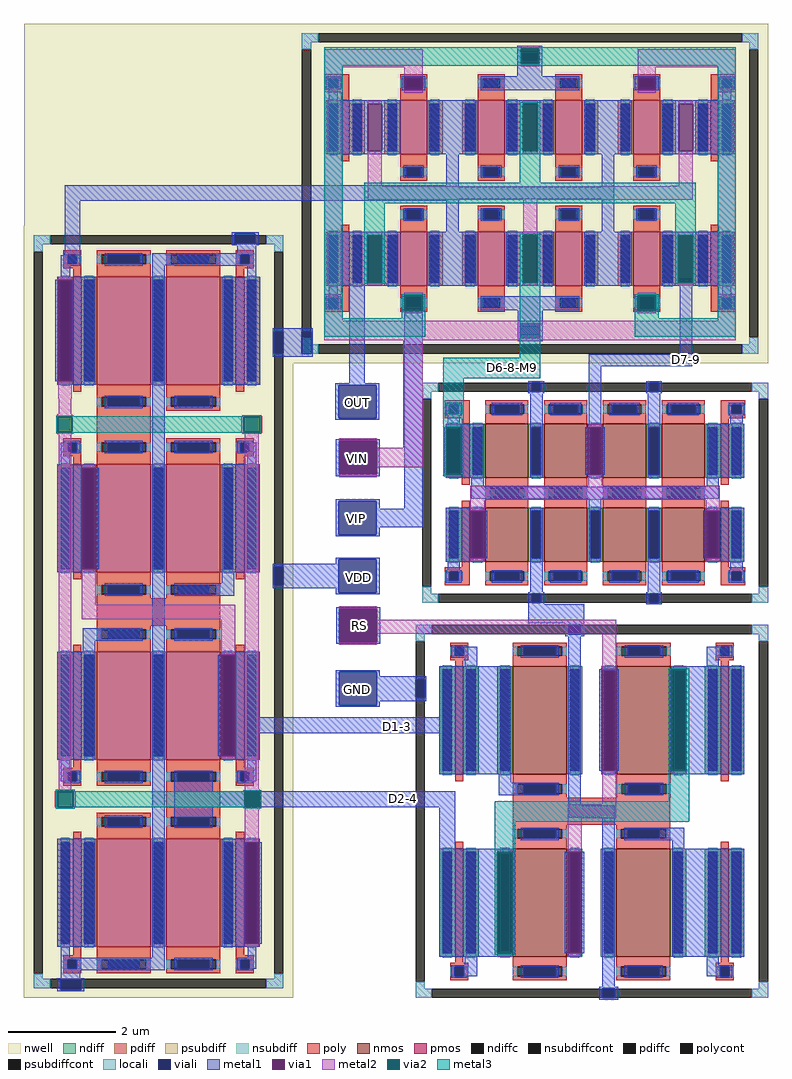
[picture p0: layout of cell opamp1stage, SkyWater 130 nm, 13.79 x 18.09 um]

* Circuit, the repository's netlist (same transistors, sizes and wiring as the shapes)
** sch_path: /home/jay_mosfet/opamp1stage/magic/opamp1stage.sch
.subckt opamp1stage OUT VDD VIN VIP RS GND
*.PININFO OUT:O VDD:B VIN:I VIP:I RS:B GND:B
x1 net4 OUT GND biasdif
x2 net1 VIN VIP VDD OUT net4 difpair
x3 net3 net2 RS GND nmoscsi
x4 VDD net3 net1 net2 pmoscs
.ends

* expanding   symbol:  biasdif.sym # of pins=3
** sym_path: /home/jay_mosfet/opamp1stage/magic/biasdif.sym
** sch_path: /home/jay_mosfet/opamp1stage/magic/biasdif.sch
.subckt biasdif D8 D9 GND
*.PININFO GND:B D8:B D9:B
XM8 D8 D8 GND GND sky130_fd_pr__nfet_01v8 L=0.8 W=1 nf=1 m=4
XM9 D9 D8 GND GND sky130_fd_pr__nfet_01v8 L=0.8 W=1 nf=1 m=4
XM1 D8 D8 D8 GND sky130_fd_pr__nfet_01v8 L=0.15 W=1 nf=1 m=2
XM2 D9 D9 D9 GND sky130_fd_pr__nfet_01v8 L=0.15 W=1 nf=1 m=2
.ends


* expanding   symbol:  difpair.sym # of pins=6
** sym_path: /home/jay_mosfet/opamp1stage/magic/difpair.sym
** sch_path: /home/jay_mosfet/opamp1stage/magic/difpair.sch
.subckt difpair D5 VIN VIP VDD D7 D6
*.PININFO VIN:I VIP:I D6:B D7:B D5:B VDD:B
XM6 D6 VIN D5 VDD sky130_fd_pr__pfet_01v8 L=0.5 W=1 nf=1 m=4
XM7 D7 VIP D5 VDD sky130_fd_pr__pfet_01v8 L=0.5 W=1 nf=1 m=4
XM1 D6 D6 D6 VDD sky130_fd_pr__pfet_01v8 L=0.15 W=1 nf=1 m=2
XM2 D7 D7 D7 VDD sky130_fd_pr__pfet_01v8 L=0.15 W=1 nf=1 m=2
.ends


* expanding   symbol:  nmoscsi.sym # of pins=4
** sym_path: /home/jay_mosfet/opamp1stage/magic/nmoscsi.sym
** sch_path: /home/jay_mosfet/opamp1stage/magic/nmoscsi.sch
.subckt nmoscsi D4 D3 RS GND
*.PININFO RS:B GND:B D3:B D4:B
XM3 D3 D3 GND GND sky130_fd_pr__nfet_01v8 L=1 W=2 nf=1 m=2
XM4 D4 D3 RS GND sky130_fd_pr__nfet_01v8 L=1 W=2 nf=1 m=2
XM1 D3 D3 D3 GND sky130_fd_pr__nfet_01v8 L=0.15 W=2 nf=1 m=2
XM2 D4 D4 D4 GND sky130_fd_pr__nfet_01v8 L=0.15 W=2 nf=1 m=2
.ends


* expanding   symbol:  pmoscs.sym # of pins=4
** sym_path: /home/jay_mosfet/opamp1stage/magic/pmoscs.sym
** sch_path: /home/jay_mosfet/opamp1stage/magic/pmoscs.sch
.subckt pmoscs VDD D2 D5 D1
*.PININFO VDD:B D1:B D2:B D5:B
XM1 D1 D2 VDD VDD sky130_fd_pr__pfet_01v8 L=1 W=2 nf=1 m=2
XM2 D2 D2 VDD VDD sky130_fd_pr__pfet_01v8 L=1 W=2 nf=1 m=2
XM5 D5 D2 VDD VDD sky130_fd_pr__pfet_01v8 L=1 W=2 nf=1 m=2
XM3 VDD VDD VDD VDD sky130_fd_pr__pfet_01v8 L=1 W=2 nf=1 m=2
XM4 VDD VDD VDD VDD sky130_fd_pr__pfet_01v8 L=0.15 W=2 nf=1 m=2
XM6 D5 D5 D5 VDD sky130_fd_pr__pfet_01v8 L=0.15 W=2 nf=1 m=2
XM7 D1 D1 D1 VDD sky130_fd_pr__pfet_01v8 L=0.15 W=2 nf=1 m=2
XM8 D2 D2 D2 VDD sky130_fd_pr__pfet_01v8 L=0.15 W=2 nf=1 m=2
.ends

.end

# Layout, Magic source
magic
tech sky130A
magscale 1 2
<< nwell >>
rect -4586 1118 -3594 1866
<< viali >>
rect -3660 644 -3626 726
rect -3558 644 -3524 726
rect -3422 404 -3283 527
rect -3420 196 -3281 320
rect -3421 -27 -3282 97
rect -3660 -214 -3626 -147
rect -3421 -242 -3282 -118
rect -3419 -426 -3280 -302
rect -3420 -660 -3281 -536
rect -3136 -632 -3102 -564
<< metal1 >>
rect -4437 1210 -2977 1267
rect -4437 970 -4380 1210
rect -3666 726 -3518 738
rect -3666 644 -3660 726
rect -3626 644 -3558 726
rect -3524 644 -3518 726
rect -3666 632 -3518 644
rect -3382 533 -3324 897
rect -3434 527 -3271 533
rect -3434 404 -3422 527
rect -3283 404 -3271 527
rect -3434 398 -3271 404
rect -3432 320 -3269 326
rect -3432 196 -3420 320
rect -3281 196 -3269 320
rect -3432 190 -3269 196
rect -3433 97 -3270 103
rect -3433 -27 -3421 97
rect -3282 69 -3270 97
rect -3178 69 -3110 814
rect -2158 642 -2112 921
rect -2494 596 -2112 642
rect -2494 383 -2448 596
rect -3031 195 -3021 371
rect -2969 195 -2959 371
rect -3282 1 -3110 69
rect -3282 -27 -3270 1
rect -3433 -33 -3270 -27
rect -3433 -118 -3270 -112
rect -3433 -135 -3421 -118
rect -3666 -147 -3421 -135
rect -3666 -214 -3660 -147
rect -3626 -214 -3421 -147
rect -3666 -226 -3421 -214
rect -3433 -242 -3421 -226
rect -3282 -242 -3270 -118
rect -3433 -248 -3270 -242
rect -3431 -302 -3268 -296
rect -3431 -426 -3419 -302
rect -3280 -426 -3268 -302
rect -2718 -356 -2512 -286
rect -3431 -432 -3268 -426
rect -3432 -536 -3269 -529
rect -3432 -660 -3420 -536
rect -3281 -552 -3269 -536
rect -3281 -564 -3096 -552
rect -3281 -632 -3136 -564
rect -3102 -632 -3096 -564
rect -3281 -644 -3096 -632
rect -3281 -660 -3269 -644
rect -3432 -666 -3269 -660
rect -3714 -763 -3048 -704
rect -4031 -978 -3889 -948
rect -4031 -979 -3860 -978
rect -4031 -1038 -2990 -979
rect -4031 -1068 -3889 -1038
rect -3049 -1191 -2990 -1038
<< via1 >>
rect -3420 196 -3281 320
rect -3021 195 -2969 371
rect -3419 -426 -3280 -302
<< metal2 >>
rect -2740 1083 -2684 1093
rect -2740 897 -2684 907
rect -3420 320 -3281 330
rect -3182 295 -3110 695
rect -3281 223 -3110 295
rect -3023 371 -2967 381
rect -3420 186 -3281 196
rect -3023 185 -2967 195
rect -3419 -302 -3280 -292
rect -3280 -394 -2393 -342
rect -3419 -436 -3280 -426
rect -2445 -517 -2393 -394
rect -2444 -530 -2393 -517
<< via2 >>
rect -2740 907 -2684 1083
rect -3023 195 -3021 371
rect -3021 195 -2969 371
rect -2969 195 -2967 371
<< metal3 >>
rect -2750 1083 -2674 1088
rect -2750 907 -2740 1083
rect -2684 907 -2674 1083
rect -2750 629 -2674 907
rect -3033 553 -2674 629
rect -3033 371 -2957 553
rect -3033 195 -3023 371
rect -2967 195 -2957 371
rect -3033 190 -2957 195
use biasdif  biasdif_0
transform 1 0 -3263 0 1 -842
box 151 556 1433 1384
use difpair  difpair_0
transform 1 0 -5088 0 1 99
box 1494 509 3258 1768
use nmoscsi  nmoscsi_0
transform 1 0 -2834 0 1 -1003
box -302 -747 1004 647
use pmoscs  pmoscs_0
transform 1 0 -4962 0 1 -1675
box 374 -69 1372 2793
<< labels >>
flabel metal1 -3205 -740 -3205 -740 0 FreeSans 640 0 0 0 D1-3
flabel metal1 -3181 -1005 -3181 -1005 0 FreeSans 640 0 0 0 D2-4
flabel space -2777 593 -2777 593 0 FreeSans 640 0 0 0 D6-8-M9
flabel metal1 -2133 620 -2133 620 0 FreeSans 640 0 0 0 D7-9
flabel viali -3352 463 -3352 463 0 FreeSans 640 0 0 0 OUT
port 1 nsew
flabel via1 -3351 255 -3351 255 0 FreeSans 640 0 0 0 VIN
port 2 nsew
flabel viali -3355 31 -3355 31 0 FreeSans 640 0 0 0 VIP
port 3 nsew
flabel viali -3348 -185 -3348 -185 0 FreeSans 640 0 0 0 VDD
port 4 nsew
flabel viali -3345 -363 -3345 -363 0 FreeSans 640 0 0 0 RS
port 5 nsew
flabel viali -3352 -600 -3352 -600 0 FreeSans 640 0 0 0 GND
port 7 nsew
<< end >>

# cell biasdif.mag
magic
tech sky130A
magscale 1 2
<< psubdiff >>
rect 151 1344 211 1378
rect 1373 1344 1433 1378
rect 151 1318 185 1344
rect 1399 1318 1433 1344
rect 151 596 185 622
rect 1399 596 1433 622
rect 151 562 211 596
rect 1373 562 1433 596
<< psubdiffcont >>
rect 211 1344 1373 1378
rect 151 622 185 1318
rect 1399 622 1433 1318
rect 211 562 1373 596
<< poly >>
rect 235 1297 327 1313
rect 235 1263 251 1297
rect 285 1263 327 1297
rect 235 1247 327 1263
rect 1257 1297 1349 1313
rect 1257 1263 1299 1297
rect 1333 1263 1349 1297
rect 1257 1247 1349 1263
rect 1257 1225 1287 1247
rect 235 677 327 693
rect 235 643 251 677
rect 285 643 327 677
rect 235 627 327 643
rect 1257 677 1349 693
rect 1257 643 1299 677
rect 1333 643 1349 677
rect 1257 627 1349 643
<< polycont >>
rect 251 1263 285 1297
rect 1299 1263 1333 1297
rect 251 643 285 677
rect 1299 643 1333 677
<< locali >>
rect 151 1344 211 1378
rect 1373 1344 1433 1378
rect 151 1318 185 1344
rect 1399 1318 1433 1344
rect 235 1263 251 1297
rect 285 1263 301 1297
rect 1283 1263 1299 1297
rect 1333 1263 1349 1297
rect 235 643 251 677
rect 285 643 301 677
rect 1283 643 1299 677
rect 1333 643 1349 677
rect 151 596 185 622
rect 1399 596 1433 622
rect 151 562 211 596
rect 1373 562 1433 596
<< viali >>
rect 557 1344 591 1378
rect 993 1344 1027 1378
rect 251 1263 285 1297
rect 1299 1263 1333 1297
rect 251 643 285 677
rect 1299 643 1333 677
rect 557 562 591 596
rect 993 562 1027 596
<< metal1 >>
rect 545 1378 603 1384
rect 545 1344 557 1378
rect 591 1344 603 1378
rect 545 1338 603 1344
rect 981 1378 1039 1384
rect 981 1344 993 1378
rect 1027 1344 1039 1378
rect 981 1338 1039 1344
rect 239 1297 297 1303
rect 239 1263 251 1297
rect 285 1263 297 1297
rect 239 1257 297 1263
rect 245 1225 291 1257
rect 551 1225 597 1338
rect 987 1225 1033 1338
rect 1287 1297 1345 1303
rect 1287 1263 1299 1297
rect 1333 1263 1345 1297
rect 1287 1257 1345 1263
rect 1293 1225 1339 1257
rect 239 1025 379 1225
rect 756 1037 766 1213
rect 818 1037 828 1213
rect 333 993 379 1025
rect 1205 1025 1345 1225
rect 1205 993 1251 1025
rect 333 947 1251 993
rect 769 915 815 947
rect 239 903 379 915
rect 1205 903 1345 915
rect 239 727 330 903
rect 382 727 392 903
rect 1192 727 1202 903
rect 1254 727 1345 903
rect 239 715 379 727
rect 1205 715 1345 727
rect 245 683 291 715
rect 239 677 297 683
rect 239 643 251 677
rect 285 643 297 677
rect 239 637 297 643
rect 551 602 597 715
rect 987 602 1033 715
rect 1293 683 1339 715
rect 1287 677 1345 683
rect 1287 643 1299 677
rect 1333 643 1345 677
rect 1287 637 1345 643
rect 545 596 603 602
rect 545 562 557 596
rect 591 562 603 596
rect 545 556 603 562
rect 981 596 1039 602
rect 981 562 993 596
rect 1027 562 1039 596
rect 981 556 1039 562
<< via1 >>
rect 766 1037 818 1213
rect 330 727 382 903
rect 1202 727 1254 903
<< metal2 >>
rect 766 1213 818 1223
rect 766 996 818 1037
rect 330 944 1254 996
rect 330 903 382 944
rect 330 717 382 727
rect 1202 903 1254 944
rect 1202 717 1254 727
use sky130_fd_pr__nfet_01v8_6H9P4D  sky130_fd_pr__nfet_01v8_6H9P4D_0
transform 1 0 1272 0 1 815
box -73 -126 73 126
use sky130_fd_pr__nfet_01v8_6H9P4D  sky130_fd_pr__nfet_01v8_6H9P4D_1
transform 1 0 312 0 1 1125
box -73 -126 73 126
use sky130_fd_pr__nfet_01v8_6H9P4D  sky130_fd_pr__nfet_01v8_6H9P4D_2
transform 1 0 312 0 1 815
box -73 -126 73 126
use sky130_fd_pr__nfet_01v8_6H9P4D  sky130_fd_pr__nfet_01v8_6H9P4D_3
transform 1 0 1272 0 1 1125
box -73 -126 73 126
use sky130_fd_pr__nfet_01v8_YYNGNX  sky130_fd_pr__nfet_01v8_YYNGNX_0
transform 1 0 792 0 1 970
box -465 -343 465 343
<< labels >>
flabel space 460 1134 460 1134 0 FreeSans 160 0 0 0 M8
flabel space 1116 1132 1116 1132 0 FreeSans 160 0 0 0 M8
flabel space 450 788 450 788 0 FreeSans 160 0 0 0 M9
flabel space 1116 802 1116 802 0 FreeSans 160 0 0 0 M9
flabel space 692 1118 692 1118 0 FreeSans 160 0 0 0 M9
flabel space 904 1120 904 1120 0 FreeSans 160 0 0 0 M9
flabel space 680 810 680 810 0 FreeSans 160 0 0 0 M8
flabel space 900 810 900 810 0 FreeSans 160 0 0 0 M8
flabel via1 793 1125 793 1125 0 FreeSans 160 0 0 0 d9
flabel space 794 811 794 811 0 FreeSans 160 0 0 0 d8
flabel via1 359 811 359 811 0 FreeSans 160 0 0 0 d9
flabel space 575 816 575 816 0 FreeSans 160 0 0 0 S
flabel space 575 1127 575 1127 0 FreeSans 160 0 0 0 S
flabel space 1008 1126 1008 1126 0 FreeSans 160 0 0 0 S
flabel space 1010 813 1010 813 0 FreeSans 160 0 0 0 S
flabel metal1 573 1309 573 1309 0 FreeSans 160 0 0 0 GND
port 1 nsew
flabel metal2 1226 928 1226 928 0 FreeSans 160 0 0 0 D9
port 2 nsew
flabel metal1 1228 1011 1228 1011 0 FreeSans 160 0 0 0 D8
port 3 nsew
<< end >>

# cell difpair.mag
magic
tech sky130A
magscale 1 2
<< nwell >>
rect 1494 1521 3258 1768
rect 1494 1498 2203 1521
rect 2253 1515 3258 1521
rect 2253 1498 2499 1515
rect 1494 1496 2499 1498
rect 2533 1496 3258 1515
rect 1494 1400 3258 1496
rect 1494 1364 1908 1400
rect 1962 1364 3258 1400
rect 1494 1274 3258 1364
rect 1494 1249 2207 1274
rect 2252 1249 3258 1274
rect 1494 1033 3258 1249
rect 1494 998 1912 1033
rect 1971 1030 3258 1033
rect 1971 1008 2206 1030
rect 2252 1008 2494 1030
rect 1971 1003 2494 1008
rect 2547 1003 3258 1030
rect 1971 998 3258 1003
rect 1494 938 3258 998
rect 1494 906 1912 938
rect 1954 926 3258 938
rect 1954 914 2774 926
rect 2806 914 3258 926
rect 1954 906 2766 914
rect 1494 854 2766 906
rect 2830 854 3258 914
rect 1494 509 3258 854
<< nsubdiff >>
rect 1530 1698 1590 1732
rect 3162 1698 3222 1732
rect 1530 1672 1564 1698
rect 3188 1672 3222 1698
rect 1530 579 1564 605
rect 3188 579 3222 605
rect 1530 545 1590 579
rect 3162 545 3222 579
<< nsubdiffcont >>
rect 1590 1698 3162 1732
rect 1530 605 1564 1672
rect 3188 605 3222 1672
rect 1590 545 3162 579
<< poly >>
rect 1614 1564 1706 1580
rect 1614 1530 1630 1564
rect 1664 1530 1706 1564
rect 1614 1514 1706 1530
rect 1676 1509 1706 1514
rect 3046 1564 3138 1580
rect 3046 1530 3088 1564
rect 3122 1530 3138 1564
rect 3046 1514 3138 1530
rect 3046 1509 3076 1514
rect 1676 765 1706 770
rect 1614 749 1706 765
rect 1614 715 1630 749
rect 1664 715 1706 749
rect 1614 699 1706 715
rect 3046 765 3076 770
rect 3046 749 3138 765
rect 3046 715 3088 749
rect 3122 715 3138 749
rect 3046 699 3138 715
<< polycont >>
rect 1630 1530 1664 1564
rect 3088 1530 3122 1564
rect 1630 715 1664 749
rect 3088 715 3122 749
<< locali >>
rect 1530 1698 1590 1732
rect 3162 1698 3222 1732
rect 1530 1672 1564 1698
rect 3188 1672 3222 1698
rect 1614 1530 1630 1564
rect 1664 1530 1680 1564
rect 3072 1530 3088 1564
rect 3122 1530 3138 1564
rect 1614 715 1630 749
rect 1664 715 1680 749
rect 3072 715 3088 749
rect 3122 715 3138 749
rect 1530 579 1564 605
rect 3188 579 3222 605
rect 1530 545 1590 579
rect 3162 545 3222 579
<< viali >>
rect 2341 1630 2409 1664
rect 1630 1530 1664 1564
rect 3088 1530 3122 1564
rect 1630 715 1664 749
rect 3088 715 3122 749
rect 2342 613 2410 647
<< metal1 >>
rect 2329 1673 2421 1685
rect 2329 1621 2341 1673
rect 2409 1621 2421 1673
rect 2329 1573 2421 1621
rect 1618 1564 1676 1570
rect 1618 1530 1630 1564
rect 1664 1530 1676 1564
rect 1618 1524 1676 1530
rect 1630 1483 1664 1524
rect 1900 1521 1910 1573
rect 1978 1521 1988 1573
rect 2194 1521 2558 1573
rect 2764 1521 2774 1573
rect 2842 1521 2852 1573
rect 3076 1564 3134 1570
rect 3076 1530 3088 1564
rect 3122 1530 3134 1564
rect 3076 1524 3134 1530
rect 3088 1483 3122 1524
rect 1630 1471 1894 1483
rect 1630 1295 1774 1471
rect 1826 1295 1894 1471
rect 1630 1283 1894 1295
rect 2000 1283 2176 1483
rect 2288 1471 2464 1483
rect 2288 1295 2350 1471
rect 2402 1295 2464 1471
rect 2288 1283 2464 1295
rect 2576 1283 2752 1483
rect 2864 1471 3128 1483
rect 2864 1295 2926 1471
rect 2978 1295 3128 1471
rect 2864 1283 3128 1295
rect 2065 1163 2111 1283
rect 2641 1163 2687 1283
rect 2065 1116 2687 1163
rect 2065 996 2111 1116
rect 2641 996 2687 1116
rect 1624 984 1888 996
rect 1624 808 1774 984
rect 1826 808 1888 984
rect 1624 796 1888 808
rect 2000 796 2176 996
rect 2288 984 2464 996
rect 2288 808 2350 984
rect 2402 808 2464 984
rect 2288 796 2464 808
rect 2576 796 2752 996
rect 2864 984 3128 996
rect 2864 808 2926 984
rect 2978 808 3128 984
rect 2864 796 3128 808
rect 1630 755 1664 796
rect 1618 749 1676 755
rect 1618 715 1630 749
rect 1664 715 1676 749
rect 1618 709 1676 715
rect 1900 706 1910 758
rect 1978 706 1988 758
rect 2194 706 2558 758
rect 2764 706 2774 758
rect 2842 706 2852 758
rect 3088 755 3122 796
rect 3076 749 3134 755
rect 3076 715 3088 749
rect 3122 715 3134 749
rect 3076 709 3134 715
rect 2330 656 2422 706
rect 2330 604 2342 656
rect 2410 604 2422 656
rect 2330 591 2422 604
<< via1 >>
rect 2341 1664 2409 1673
rect 2341 1630 2409 1664
rect 2341 1621 2409 1630
rect 1910 1521 1978 1573
rect 2774 1521 2842 1573
rect 1774 1295 1826 1471
rect 2350 1295 2402 1471
rect 2926 1295 2978 1471
rect 1774 808 1826 984
rect 2350 808 2402 984
rect 2926 808 2978 984
rect 1910 706 1978 758
rect 2774 706 2842 758
rect 2342 647 2410 656
rect 2342 613 2410 647
rect 2342 604 2410 613
<< metal2 >>
rect 2341 1675 2409 1685
rect 1613 1605 1978 1673
rect 2341 1609 2409 1619
rect 1613 666 1681 1605
rect 1910 1573 1978 1605
rect 1910 1511 1978 1521
rect 2774 1605 3139 1673
rect 2774 1573 2842 1605
rect 2774 1511 2842 1521
rect 1774 1471 1826 1481
rect 1774 1165 1826 1295
rect 2348 1471 2404 1481
rect 2348 1285 2404 1295
rect 2926 1471 2978 1481
rect 2926 1166 2978 1295
rect 2896 1165 2978 1166
rect 1774 1114 2978 1165
rect 1772 984 1828 994
rect 1772 798 1828 808
rect 2350 984 2402 1114
rect 2350 798 2402 808
rect 2924 984 2980 994
rect 2924 798 2980 808
rect 1910 760 1978 770
rect 1910 694 1978 704
rect 2774 760 2842 770
rect 2774 694 2842 704
rect 2342 666 2410 667
rect 3071 666 3139 1605
rect 1613 656 3139 666
rect 1613 604 2342 656
rect 2410 604 3139 656
rect 1613 594 3139 604
rect 2342 591 2410 594
<< via2 >>
rect 2341 1673 2409 1675
rect 2341 1621 2409 1673
rect 2341 1619 2409 1621
rect 2348 1295 2350 1471
rect 2350 1295 2402 1471
rect 2402 1295 2404 1471
rect 1772 808 1774 984
rect 1774 808 1826 984
rect 1826 808 1828 984
rect 2924 808 2926 984
rect 2926 808 2978 984
rect 2978 808 2980 984
rect 1910 758 1978 760
rect 1910 706 1978 758
rect 1910 704 1978 706
rect 2774 758 2842 760
rect 2774 706 2842 758
rect 2774 704 2842 706
<< metal3 >>
rect 1613 1675 3139 1680
rect 1613 1619 2341 1675
rect 2409 1619 3139 1675
rect 1613 1612 3139 1619
rect 1613 675 1681 1612
rect 2338 1471 2414 1476
rect 2338 1295 2348 1471
rect 2404 1295 2414 1471
rect 2338 1177 2414 1295
rect 1762 1102 2990 1177
rect 1762 984 1838 1102
rect 1762 808 1772 984
rect 1828 808 1838 984
rect 1762 803 1838 808
rect 2914 984 2990 1102
rect 2914 808 2924 984
rect 2980 808 2990 984
rect 2914 803 2990 808
rect 1900 760 1988 765
rect 1900 704 1910 760
rect 1978 704 1988 760
rect 1900 675 1988 704
rect 1613 608 1988 675
rect 2764 760 2852 765
rect 2764 704 2774 760
rect 2842 704 2852 760
rect 2764 675 2852 704
rect 3071 675 3139 1612
rect 2764 608 3139 675
use sky130_fd_pr__pfet_01v8_QKGXH2  sky130_fd_pr__pfet_01v8_QKGXH2_0
transform 1 0 3061 0 1 1383
box -109 -162 109 162
use sky130_fd_pr__pfet_01v8_QKGXH2  sky130_fd_pr__pfet_01v8_QKGXH2_3
transform 1 0 3061 0 1 896
box -109 -162 109 162
use sky130_fd_pr__pfet_01v8_QKGXH2  sky130_fd_pr__pfet_01v8_QKGXH2_4
transform 1 0 1691 0 1 1383
box -109 -162 109 162
use sky130_fd_pr__pfet_01v8_QKGXH2  sky130_fd_pr__pfet_01v8_QKGXH2_5
transform 1 0 1691 0 1 896
box -109 -162 109 162
use sky130_fd_pr__pfet_01v8_VGK97L  sky130_fd_pr__pfet_01v8_VGK97L_0
transform 1 0 2808 0 1 896
box -144 -200 144 200
use sky130_fd_pr__pfet_01v8_VGK97L  sky130_fd_pr__pfet_01v8_VGK97L_1
transform 1 0 1944 0 1 1383
box -144 -200 144 200
use sky130_fd_pr__pfet_01v8_VGK97L  sky130_fd_pr__pfet_01v8_VGK97L_2
transform 1 0 2232 0 1 1383
box -144 -200 144 200
use sky130_fd_pr__pfet_01v8_VGK97L  sky130_fd_pr__pfet_01v8_VGK97L_3
transform 1 0 2520 0 1 1383
box -144 -200 144 200
use sky130_fd_pr__pfet_01v8_VGK97L  sky130_fd_pr__pfet_01v8_VGK97L_4
transform 1 0 2808 0 1 1383
box -144 -200 144 200
use sky130_fd_pr__pfet_01v8_VGK97L  sky130_fd_pr__pfet_01v8_VGK97L_5
transform 1 0 1944 0 1 896
box -144 -200 144 200
use sky130_fd_pr__pfet_01v8_VGK97L  sky130_fd_pr__pfet_01v8_VGK97L_6
transform 1 0 2232 0 1 896
box -144 -200 144 200
use sky130_fd_pr__pfet_01v8_VGK97L  sky130_fd_pr__pfet_01v8_VGK97L_7
transform 1 0 2520 0 1 896
box -144 -200 144 200
<< labels >>
flabel metal3 1802 1028 1802 1028 0 FreeSans 160 0 0 0 D7
port 2 nsew
flabel metal2 1796 1248 1796 1248 0 FreeSans 160 0 0 0 D6
port 3 nsew
flabel metal1 2092 1238 2092 1238 0 FreeSans 160 0 0 0 D5
port 4 nsew
flabel locali 3206 1700 3206 1700 0 FreeSans 160 0 0 0 VDD
port 9 nsew
flabel metal1 2364 1564 2364 1564 0 FreeSans 160 0 0 0 VIP
port 10 nsew
flabel metal1 2380 694 2380 694 0 FreeSans 160 0 0 0 VIN
port 11 nsew
<< end >>

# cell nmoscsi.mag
magic
tech sky130A
magscale 1 2
<< psubdiff >>
rect -302 607 -242 641
rect 944 607 1004 641
rect -302 581 -268 607
rect 970 581 1004 607
rect -302 -707 -268 -681
rect 970 -707 1004 -681
rect -302 -741 -242 -707
rect 944 -741 1004 -707
<< psubdiffcont >>
rect -242 607 944 641
rect -302 -681 -268 581
rect 970 -681 1004 581
rect -242 -741 944 -707
<< poly >>
rect 58 -100 642 0
rect -174 -626 -108 -610
rect -174 -660 -158 -626
rect -124 -660 -108 -626
rect -174 -676 -108 -660
rect 810 -626 876 -610
rect 810 -660 826 -626
rect 860 -660 876 -626
rect 810 -676 876 -660
<< polycont >>
rect -158 -660 -124 -626
rect 826 -660 860 -626
<< locali >>
rect -302 607 -242 641
rect 944 607 1004 641
rect -302 581 -268 607
rect 970 581 1004 607
rect 58 19 74 48
rect -174 -660 -158 -626
rect -124 -660 -108 -626
rect 810 -660 826 -626
rect 860 -660 876 -626
rect -302 -707 -268 -681
rect 970 -707 1004 -681
rect -302 -741 -242 -707
rect 944 -741 1004 -707
<< viali >>
rect 264 607 310 641
rect 264 606 310 607
rect -158 -660 -124 -626
rect 826 -660 860 -626
rect 390 -707 436 -706
rect 390 -741 436 -707
<< metal1 >>
rect 252 641 322 647
rect 252 606 264 641
rect 310 606 322 641
rect 252 600 322 606
rect -162 526 -74 560
rect -120 488 -74 526
rect -214 88 52 488
rect 264 487 310 600
rect 776 526 860 560
rect 776 488 822 526
rect 6 56 52 88
rect 6 10 98 56
rect 264 -27 310 486
rect 650 476 916 488
rect 379 100 389 476
rect 441 100 451 476
rect 637 100 647 476
rect 699 100 916 476
rect 650 88 916 100
rect 264 -73 436 -27
rect -214 -200 52 -188
rect -214 -576 3 -200
rect 55 -576 65 -200
rect 251 -576 261 -200
rect 313 -576 323 -200
rect -214 -588 52 -576
rect -120 -620 -74 -588
rect -170 -626 -74 -620
rect -170 -660 -158 -626
rect -124 -660 -74 -626
rect -170 -666 -112 -660
rect 390 -700 436 -73
rect 601 -156 694 -110
rect 648 -188 694 -156
rect 648 -588 916 -188
rect 776 -620 822 -588
rect 776 -626 872 -620
rect 776 -660 826 -626
rect 860 -660 872 -626
rect 814 -666 872 -660
rect 378 -706 448 -700
rect 378 -741 390 -706
rect 436 -741 448 -706
rect 378 -747 448 -741
<< via1 >>
rect 389 100 441 476
rect 647 100 699 476
rect 3 -576 55 -200
rect 261 -576 313 -200
<< metal2 >>
rect 389 476 441 486
rect 389 -24 441 100
rect 645 476 701 486
rect 645 90 701 100
rect 261 -76 441 -24
rect 1 -200 57 -190
rect 1 -586 57 -576
rect 261 -200 313 -76
rect 261 -586 313 -576
<< via2 >>
rect 645 100 647 476
rect 647 100 699 476
rect 699 100 701 476
rect 1 -576 3 -200
rect 3 -576 55 -200
rect 55 -576 57 -200
<< metal3 >>
rect 635 476 711 481
rect 635 100 645 476
rect 701 100 711 476
rect 635 -12 711 100
rect -9 -88 711 -12
rect -9 -200 67 -88
rect -9 -576 1 -200
rect 57 -576 67 -200
rect -9 -581 67 -576
use sky130_fd_pr__nfet_01v8_46AAJJ  sky130_fd_pr__nfet_01v8_46AAJJ_0
transform 1 0 542 0 1 -388
box -158 -288 158 288
use sky130_fd_pr__nfet_01v8_46AAJJ  sky130_fd_pr__nfet_01v8_46AAJJ_1
transform 1 0 158 0 1 288
box -158 -288 158 288
use sky130_fd_pr__nfet_01v8_46AAJJ  sky130_fd_pr__nfet_01v8_46AAJJ_2
transform 1 0 544 0 1 288
box -158 -288 158 288
use sky130_fd_pr__nfet_01v8_46AAJJ  sky130_fd_pr__nfet_01v8_46AAJJ_3
transform 1 0 158 0 1 -388
box -158 -288 158 288
use sky130_fd_pr__nfet_01v8_TC9PLT  sky130_fd_pr__nfet_01v8_TC9PLT_0
transform 1 0 843 0 1 -388
box -73 -226 73 226
use sky130_fd_pr__nfet_01v8_TC9PLT  sky130_fd_pr__nfet_01v8_TC9PLT_2
transform 1 0 -141 0 1 -388
box -73 -226 73 226
use sky130_fd_pr__nfet_01v8_TCR5KT  sky130_fd_pr__nfet_01v8_TCR5KT_0
transform 1 0 -141 0 1 319
box -73 -257 73 257
use sky130_fd_pr__nfet_01v8_TCR5KT  sky130_fd_pr__nfet_01v8_TCR5KT_1
transform 1 0 843 0 1 319
box -73 -257 73 257
<< labels >>
flabel metal1 288 311 288 311 0 FreeSans 160 0 0 0 s3
flabel metal1 27 307 27 307 0 FreeSans 160 0 0 0 d3
flabel space 162 294 162 294 0 FreeSans 160 0 0 0 M3
flabel space 543 292 543 292 0 FreeSans 160 0 0 0 M4
flabel metal1 756 291 756 291 0 FreeSans 160 0 0 0 d4
flabel via1 667 290 667 290 0 FreeSans 160 0 0 0 d4
flabel metal1 -64 299 -64 299 0 FreeSans 160 0 0 0 d3
flabel metal1 -62 -384 -62 -384 0 FreeSans 160 0 0 0 d4
flabel metal1 413 -395 413 -395 0 FreeSans 160 0 0 0 s3
flabel space 150 -402 150 -402 0 FreeSans 160 0 0 0 M4
flabel via1 419 291 419 291 0 FreeSans 160 0 0 0 s4
flabel via1 284 -389 284 -389 0 FreeSans 160 0 0 0 s4
flabel space 541 -392 541 -392 0 FreeSans 160 0 0 0 M3
flabel metal1 291 562 291 562 0 FreeSans 160 0 0 0 GND
port 1 nsew
flabel metal2 417 38 417 38 0 FreeSans 160 0 0 0 RS
port 2 nsew
flabel metal1 -30 449 -30 449 0 FreeSans 160 0 0 0 D3
port 3 nsew
flabel metal1 742 450 742 450 0 FreeSans 160 0 0 0 D4
port 5 nsew
<< end >>

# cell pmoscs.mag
magic
tech sky130A
magscale 1 2
<< nwell >>
rect 374 -69 1372 2793
<< nsubdiff >>
rect 410 2723 472 2757
rect 1273 2723 1336 2757
rect 410 2697 444 2723
rect 1302 2697 1336 2723
rect 410 1 444 21
rect 1302 1 1336 21
rect 410 -33 472 1
rect 1273 -33 1336 1
<< nsubdiffcont >>
rect 472 2723 1273 2757
rect 410 21 444 2697
rect 1302 21 1336 2697
rect 472 -33 1273 1
<< poly >>
rect 520 2685 586 2701
rect 520 2651 536 2685
rect 570 2651 586 2685
rect 520 2635 586 2651
rect 556 2620 586 2635
rect 1160 2685 1226 2701
rect 1160 2651 1176 2685
rect 1210 2651 1226 2685
rect 1160 2635 1226 2651
rect 1160 2620 1190 2635
rect 520 1989 586 2005
rect 644 2003 844 2109
rect 520 1955 536 1989
rect 570 1955 586 1989
rect 520 1939 586 1955
rect 556 1924 586 1939
rect 1160 1989 1226 2005
rect 1160 1955 1176 1989
rect 1210 1955 1226 1989
rect 1160 1939 1226 1955
rect 1160 1924 1190 1939
rect 644 1310 1102 1412
rect 556 783 586 798
rect 520 767 586 783
rect 520 733 536 767
rect 570 733 586 767
rect 520 717 586 733
rect 1160 783 1190 798
rect 1160 767 1226 783
rect 1160 733 1176 767
rect 1210 733 1226 767
rect 902 614 1102 720
rect 1160 717 1226 733
rect 556 89 586 104
rect 520 73 586 89
rect 520 39 536 73
rect 570 39 586 73
rect 520 23 586 39
rect 1160 89 1190 104
rect 1160 73 1226 89
rect 1160 39 1176 73
rect 1210 39 1226 73
rect 1160 23 1226 39
<< polycont >>
rect 536 2651 570 2685
rect 1176 2651 1210 2685
rect 536 1955 570 1989
rect 1176 1955 1210 1989
rect 536 733 570 767
rect 1176 733 1210 767
rect 536 39 570 73
rect 1176 39 1210 73
<< locali >>
rect 410 2723 472 2757
rect 1273 2723 1336 2757
rect 410 2697 444 2723
rect 1302 2697 1336 2723
rect 520 2651 536 2685
rect 570 2651 586 2685
rect 1160 2651 1176 2685
rect 1210 2651 1226 2685
rect 520 1955 536 1989
rect 570 1955 586 1989
rect 1160 1955 1176 1989
rect 1210 1955 1226 1989
rect 520 733 536 767
rect 570 733 586 767
rect 1160 733 1176 767
rect 1210 733 1226 767
rect 520 39 536 73
rect 570 39 586 73
rect 1160 39 1176 73
rect 1210 39 1226 73
rect 410 1 444 21
rect 1302 1 1336 21
rect 410 -33 472 1
rect 1273 -33 1336 1
<< viali >>
rect 1156 2757 1232 2762
rect 1156 2726 1232 2757
rect 536 2651 570 2685
rect 1176 2651 1210 2685
rect 536 1955 570 1989
rect 1176 1955 1210 1989
rect 536 733 570 767
rect 1176 733 1210 767
rect 536 39 570 73
rect 1176 39 1210 73
rect 510 -33 586 -2
rect 510 -38 586 -33
<< metal1 >>
rect 1144 2762 1244 2768
rect 1144 2726 1156 2762
rect 1232 2726 1244 2762
rect 1144 2720 1244 2726
rect 1164 2691 1236 2720
rect 524 2685 582 2691
rect 1061 2690 1236 2691
rect 524 2684 536 2685
rect 511 2651 536 2684
rect 570 2651 582 2685
rect 511 2645 582 2651
rect 850 2685 1236 2690
rect 850 2651 1176 2685
rect 1210 2651 1236 2685
rect 850 2647 1236 2651
rect 511 2603 545 2645
rect 497 2593 637 2603
rect 491 2216 501 2593
rect 553 2216 637 2593
rect 497 2204 637 2216
rect 524 1989 582 1995
rect 510 1955 536 1989
rect 570 1955 582 1989
rect 510 1949 582 1955
rect 510 1907 544 1949
rect 498 1896 638 1907
rect 498 1520 589 1896
rect 641 1520 651 1896
rect 498 1508 638 1520
rect 592 1255 815 1301
rect 592 1214 638 1255
rect 498 814 638 1214
rect 510 773 544 814
rect 510 767 582 773
rect 510 733 536 767
rect 570 733 582 767
rect 524 727 582 733
rect 498 120 638 520
rect 510 79 544 120
rect 850 79 896 2647
rect 1061 2645 1236 2647
rect 1202 2602 1236 2645
rect 1110 2204 1249 2602
rect 1164 1989 1222 1995
rect 1164 1955 1176 1989
rect 1210 1955 1235 1989
rect 1164 1949 1235 1955
rect 1202 1908 1235 1949
rect 1108 1508 1248 1908
rect 1108 1467 1154 1508
rect 931 1421 1154 1467
rect 1108 1202 1248 1214
rect 1095 826 1105 1202
rect 1157 826 1248 1202
rect 1108 814 1248 826
rect 1202 773 1236 814
rect 1164 767 1236 773
rect 1164 733 1176 767
rect 1210 733 1236 767
rect 1164 727 1222 733
rect 1108 508 1248 520
rect 1108 132 1193 508
rect 1245 132 1255 508
rect 1108 120 1248 132
rect 1203 79 1236 120
rect 510 73 896 79
rect 510 39 536 73
rect 570 39 896 73
rect 510 33 896 39
rect 1164 73 1236 79
rect 1164 39 1176 73
rect 1210 39 1236 73
rect 1164 33 1222 39
rect 510 4 582 33
rect 498 -2 598 4
rect 498 -38 510 -2
rect 586 -38 598 -2
rect 498 -44 598 -38
<< via1 >>
rect 501 2216 553 2593
rect 589 1520 641 1896
rect 1105 826 1157 1202
rect 1193 132 1245 508
<< metal2 >>
rect 501 2593 553 2603
rect 501 2206 553 2216
rect 501 2154 552 2206
rect 504 2093 549 2154
rect 498 2084 554 2093
rect 498 2019 554 2028
rect 1180 2026 1189 2086
rect 1249 2026 1258 2086
rect 504 697 549 2019
rect 589 1896 641 1906
rect 589 1387 641 1520
rect 1105 1387 1157 1388
rect 589 1335 1157 1387
rect 1105 1202 1157 1335
rect 1105 816 1157 826
rect 1193 704 1245 2026
rect 488 637 497 697
rect 557 637 566 697
rect 1192 695 1248 704
rect 1192 630 1248 639
rect 1193 508 1245 630
rect 1193 122 1245 132
<< via2 >>
rect 498 2028 554 2084
rect 1189 2026 1249 2086
rect 497 637 557 697
rect 1192 639 1248 695
<< metal3 >>
rect 493 2086 559 2089
rect 1184 2086 1254 2091
rect 493 2084 1189 2086
rect 493 2028 498 2084
rect 554 2028 1189 2084
rect 493 2026 1189 2028
rect 1249 2026 1254 2086
rect 493 2023 559 2026
rect 1184 2021 1254 2026
rect 492 697 562 702
rect 1187 697 1253 700
rect 492 637 497 697
rect 557 695 1253 697
rect 557 639 1192 695
rect 1248 639 1253 695
rect 557 637 1253 639
rect 492 632 562 637
rect 1187 634 1253 637
use sky130_fd_pr__pfet_01v8_2ZH9AN  sky130_fd_pr__pfet_01v8_2ZH9AN_0
transform 1 0 571 0 1 1014
box -109 -262 109 262
use sky130_fd_pr__pfet_01v8_2ZH9AN  sky130_fd_pr__pfet_01v8_2ZH9AN_1
transform 1 0 1175 0 1 2404
box -109 -262 109 262
use sky130_fd_pr__pfet_01v8_2ZH9AN  sky130_fd_pr__pfet_01v8_2ZH9AN_2
transform 1 0 1175 0 1 1708
box -109 -262 109 262
use sky130_fd_pr__pfet_01v8_2ZH9AN  sky130_fd_pr__pfet_01v8_2ZH9AN_3
transform 1 0 1175 0 1 1014
box -109 -262 109 262
use sky130_fd_pr__pfet_01v8_2ZH9AN  sky130_fd_pr__pfet_01v8_2ZH9AN_4
transform 1 0 1175 0 1 320
box -109 -262 109 262
use sky130_fd_pr__pfet_01v8_2ZH9AN  sky130_fd_pr__pfet_01v8_2ZH9AN_5
transform 1 0 571 0 1 320
box -109 -262 109 262
use sky130_fd_pr__pfet_01v8_2ZH9AN  sky130_fd_pr__pfet_01v8_2ZH9AN_6
transform 1 0 571 0 1 1708
box -109 -262 109 262
use sky130_fd_pr__pfet_01v8_2ZH9AN  sky130_fd_pr__pfet_01v8_2ZH9AN_7
transform 1 0 571 0 1 2404
box -109 -262 109 262
use sky130_fd_pr__pfet_01v8_SDE6B7  sky130_fd_pr__pfet_01v8_SDE6B7_0
transform 1 0 873 0 1 2404
box -323 -300 323 300
use sky130_fd_pr__pfet_01v8_SDE6B7  sky130_fd_pr__pfet_01v8_SDE6B7_1
transform 1 0 873 0 1 1708
box -323 -300 323 300
use sky130_fd_pr__pfet_01v8_SDE6B7  sky130_fd_pr__pfet_01v8_SDE6B7_2
transform 1 0 873 0 1 1014
box -323 -300 323 300
use sky130_fd_pr__pfet_01v8_SDE6B7  sky130_fd_pr__pfet_01v8_SDE6B7_3
transform 1 0 873 0 1 320
box -323 -300 323 300
<< labels >>
flabel metal1 1178 2474 1178 2474 0 FreeSans 240 0 0 0 VDD
port 2 nsew
flabel metal1 574 930 574 930 0 FreeSans 240 0 0 0 D2
port 4 nsew
flabel metal2 1226 710 1226 710 0 FreeSans 240 0 0 0 D5
port 7 nsew
flabel metal2 612 1472 612 1472 0 FreeSans 240 0 0 0 D1
port 8 nsew
<< end >>

# cell sky130_fd_pr__pfet_01v8_2ZH9AN: kit device sky130_fd_pr__pfet_01v8, w 2 l 0.15 m 1 nf 1 diffcov 100 polycov 100 guard 0 glc 1 grc 1 gtc 1 gbc 1 tbcov 100 rlcov 100 topc 0 botc 0 poverlap 0 doverlap 1 lmin 0.15 wmin 0.42 compatible {sky130_fd_pr__pfet_01v8 sky130_fd_pr__pfet_01v8_lvt sky130_fd_pr__pfet_01v8_hvt sky130_fd_pr__pfet_g5v0d10v5} full_metal 1 viasrc 100 viadrn 100 viagate 100 viagb 0 viagr 0 viagl 0 viagt 0

# cell sky130_fd_pr__pfet_01v8_SDE6B7: kit device sky130_fd_pr__pfet_01v8, w 2 l 1 m 1 nf 2 diffcov 100 polycov 100 guard 0 glc 1 grc 1 gtc 1 gbc 1 tbcov 100 rlcov 100 topc 1 botc 1 poverlap 0 doverlap 1 lmin 0.15 wmin 0.42 compatible {sky130_fd_pr__pfet_01v8 sky130_fd_pr__pfet_01v8_lvt sky130_fd_pr__pfet_01v8_hvt sky130_fd_pr__pfet_g5v0d10v5} full_metal 1 viasrc 100 viadrn 100 viagate 70 viagb 0 viagr 0 viagl 0 viagt 0

# cell sky130_fd_pr__nfet_01v8_46AAJJ: kit device sky130_fd_pr__nfet_01v8, w 2 l 1 m 1 nf 1 diffcov 100 polycov 100 guard 0 glc 1 grc 1 gtc 1 gbc 1 tbcov 100 rlcov 100 topc 1 botc 1 poverlap 0 doverlap 1 lmin 0.15 wmin 0.42 compatible {sky130_fd_pr__nfet_01v8 sky130_fd_pr__nfet_01v8_lvt sky130_fd_bs_flash__special_sonosfet_star sky130_fd_pr__nfet_g5v0d10v5 sky130_fd_pr__nfet_05v0_nvt sky130_fd_pr__nfet_03v3_nvt} full_metal 1 viasrc 100 viadrn 100 viagate 70 viagb 0 viagr 0 viagl 0 viagt 0

# cell sky130_fd_pr__nfet_01v8_TC9PLT: kit device sky130_fd_pr__nfet_01v8, w 2 l 0.150 m 1 nf 1 diffcov 100 polycov 100 guard 0 glc 1 grc 1 gtc 1 gbc 1 tbcov 100 rlcov 100 topc 0 botc 0 poverlap 0 doverlap 1 lmin 0.15 wmin 0.42 compatible {sky130_fd_pr__nfet_01v8 sky130_fd_pr__nfet_01v8_lvt sky130_fd_bs_flash__special_sonosfet_star sky130_fd_pr__nfet_g5v0d10v5 sky130_fd_pr__nfet_05v0_nvt sky130_fd_pr__nfet_03v3_nvt} full_metal 1 viasrc 100 viadrn 100 viagate 100 viagb 0 viagr 0 viagl 0 viagt 0

# cell sky130_fd_pr__nfet_01v8_TCR5KT: kit device sky130_fd_pr__nfet_01v8, w 2 l 0.150 m 1 nf 1 diffcov 100 polycov 100 guard 0 glc 1 grc 1 gtc 1 gbc 1 tbcov 100 rlcov 100 topc 1 botc 0 poverlap 0 doverlap 1 lmin 0.15 wmin 0.42 compatible {sky130_fd_pr__nfet_01v8 sky130_fd_pr__nfet_01v8_lvt sky130_fd_bs_flash__special_sonosfet_star sky130_fd_pr__nfet_g5v0d10v5 sky130_fd_pr__nfet_05v0_nvt sky130_fd_pr__nfet_03v3_nvt} full_metal 1 viasrc 100 viadrn 100 viagate 100 viagb 0 viagr 0 viagl 0 viagt 0

# cell sky130_fd_pr__pfet_01v8_QKGXH2: kit device sky130_fd_pr__pfet_01v8, w 1 l 0.15 m 1 nf 1 diffcov 100 polycov 100 guard 0 glc 1 grc 1 gtc 1 gbc 1 tbcov 100 rlcov 100 topc 0 botc 0 poverlap 0 doverlap 1 lmin 0.15 wmin 0.42 compatible {sky130_fd_pr__pfet_01v8 sky130_fd_pr__pfet_01v8_lvt sky130_fd_pr__pfet_01v8_hvt sky130_fd_pr__pfet_g5v0d10v5} full_metal 1 viasrc 100 viadrn 100 viagate { 100} viagb 0 viagr 0 viagl 0 viagt 0

# cell sky130_fd_pr__pfet_01v8_VGK97L: kit device sky130_fd_pr__pfet_01v8, w 1 l 0.5 m 1 nf 1 diffcov 100 polycov 100 guard 0 glc 1 grc 1 gtc 1 gbc 1 tbcov 100 rlcov 100 topc 1 botc 1 poverlap 0 doverlap 1 lmin 0.15 wmin 0.42 compatible {sky130_fd_pr__pfet_01v8 sky130_fd_pr__pfet_01v8_lvt sky130_fd_pr__pfet_01v8_hvt sky130_fd_pr__pfet_g5v0d10v5} full_metal 1 viasrc 100 viadrn 100 viagate 75 viagb 0 viagr 0 viagl 0 viagt 0

# cell sky130_fd_pr__nfet_01v8_6H9P4D: kit device sky130_fd_pr__nfet_01v8, w 1 l 0.150 m 1 nf 1 diffcov 100 polycov 100 guard 0 glc 1 grc 1 gtc 1 gbc 1 tbcov 100 rlcov 100 topc 0 botc 0 poverlap 0 doverlap 1 lmin 0.15 wmin 0.42 compatible {sky130_fd_pr__nfet_01v8 sky130_fd_pr__nfet_01v8_lvt sky130_fd_bs_flash__special_sonosfet_star sky130_fd_pr__nfet_g5v0d10v5 sky130_fd_pr__nfet_05v0_nvt sky130_fd_pr__nfet_03v3_nvt} full_metal 1 viasrc 100 viadrn 100 viagate 100 viagb 0 viagr 0 viagl 0 viagt 0

# cell sky130_fd_pr__nfet_01v8_YYNGNX: kit device sky130_fd_pr__nfet_01v8, w 1 l 0.8 m 2 nf 4 diffcov 100 polycov 100 guard 0 glc 1 grc 1 gtc 1 gbc 1 tbcov 100 rlcov 100 topc 1 botc 1 poverlap 1 doverlap 1 lmin 0.15 wmin 0.42 compatible {sky130_fd_pr__nfet_01v8 sky130_fd_pr__nfet_01v8_lvt sky130_fd_bs_flash__special_sonosfet_star sky130_fd_pr__nfet_g5v0d10v5 sky130_fd_pr__nfet_05v0_nvt sky130_fd_pr__nfet_03v3_nvt} full_metal 1 viasrc 100 viadrn 100 viagate 70 viagb 0 viagr 0 viagl 0 viagt 0
